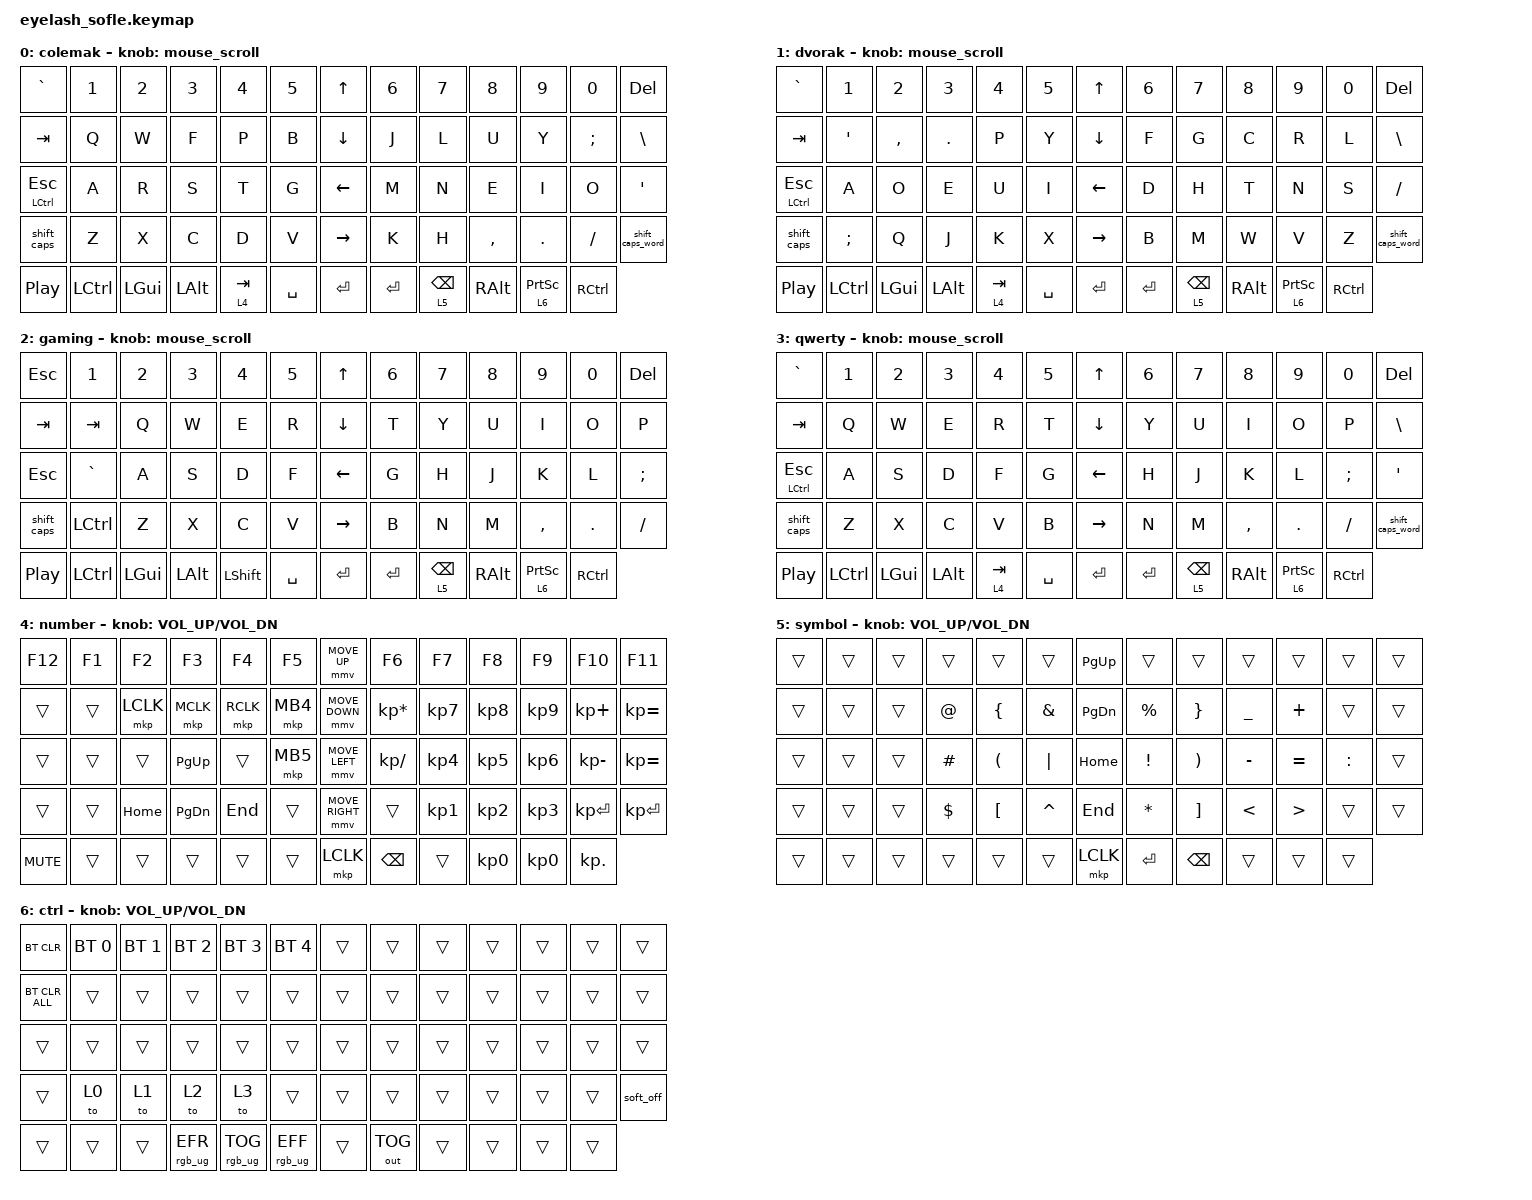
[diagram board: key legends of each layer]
#include <dt-bindings/zmk/mouse.h>
#include <input/processors.dtsi>
#include <behaviors.dtsi>
#include <dt-bindings/zmk/bt.h>
#include <dt-bindings/zmk/keys.h>
#include <dt-bindings/zmk/outputs.h>
#include <dt-bindings/zmk/pointing.h>
#include <dt-bindings/zmk/pointing.h>
#include <dt-bindings/zmk/pointing.h>
#include <dt-bindings/zmk/rgb.h>

/*

   &mmv_input_listener {
       input-processors = <&zip_xy_scaler 2 1>;
   };

   &msc_input_listener {
       input-processors = <&zip_xy_scaler 2 1>;
   };

 */

#define ZMK_POINTING_DEFAULT_MOVE_VAL 1200  // 600
#define ZMK_POINTING_DEFAULT_SCRL_VAL 20    // 10
#define ZMK_MOUSE_SCRL_VAL 140

/ {
    behaviors {
        mmv {
            acceleration-exponent = <1>;      // 1
            time-to-max-speed-ms = <900>;    // 40
            delay-ms = <0>;                   // 0
        };

        msc {
            acceleration-exponent = <1>;      // 0
            time-to-max-speed-ms = <400>;      // 500
            delay-ms = <0>;                   //   10
        };
    };

    shift_caps: shift_caps {
        compatible = "zmk,behavior-tap-dance";
        label = "SHIFT_CAPS";
        #binding-cells = <0>;
        bindings = <&kp LEFT_SHIFT>, <&kp CAPS>;
    };

    mouse_scroll: mouse_scroll {
        compatible = "zmk,behavior-sensor-rotate";
        label = "MOUSE_SCROLL";
        #sensor-binding-cells = <0>;
        bindings =
            <&msc MOVE_Y(-ZMK_MOUSE_SCRL_VAL)>,
            <&msc MOVE_Y(ZMK_MOUSE_SCRL_VAL)>;

        tap-ms = <20>;
    };

    shift_caps_word: shift_caps_word {
        compatible = "zmk,behavior-tap-dance";
        label = "SHIFT_CAPS_WORD";
        #binding-cells = <0>;
        bindings = <&kp RIGHT_SHIFT>, <&caps_word>;
    };

    combos {
        compatible = "zmk,combos";

        bl {
            bindings = <&bootloader>;
            key-positions = <39 51>;
        };
    };

    keymap {
        compatible = "zmk,keymap";

        colemak-dh {
            bindings = <
&kp GRAVE         &kp N1     &kp N2        &kp N3        &kp N4     &kp N5       &kp UP_ARROW     &kp N6     &kp N7           &kp N8     &kp N9       &kp N0     &kp DELETE
&kp TAB           &kp Q      &kp W         &kp F         &kp P      &kp B        &kp DOWN_ARROW   &kp J      &kp L            &kp U      &kp Y        &kp SEMI   &kp BSLH
&mt LCTRL ESC     &kp A      &kp R         &kp S         &kp T      &kp G        &kp LEFT_ARROW   &kp M      &kp N            &kp E      &kp I        &kp O      &kp APOS
&shift_caps       &kp Z      &kp X         &kp C         &kp D      &kp V        &kp RIGHT_ARROW  &kp K      &kp H            &kp COMMA  &kp DOT      &kp FSLH   &shift_caps_word
&kp C_PLAY_PAUSE  &kp LCTRL  &kp LEFT_GUI  &kp LEFT_ALT  &lt 4 TAB  &kp SPACE    &kp ENTER        &kp ENTER  &lt 5 BACKSPACE  &kp RALT   &lt 6 PSCRN  &kp RCTRL
            >;

            sensor-bindings = <&mouse_scroll>;
            display-name = "colemak";
        };

        dvorak {
            display-name = "dvorak";
            bindings = <
&kp GRAVE         &kp N1     &kp N2        &kp N3        &kp N4     &kp N5       &kp UP_ARROW     &kp N6     &kp N7           &kp N8    &kp N9       &kp N0     &kp DELETE
&kp TAB           &kp APOS   &kp COMMA     &kp DOT       &kp P      &kp Y        &kp DOWN_ARROW   &kp F      &kp G            &kp C     &kp R        &kp L      &kp BSLH
&mt LCTRL ESC     &kp A      &kp O         &kp E         &kp U      &kp I        &kp LEFT_ARROW   &kp D      &kp H            &kp T     &kp N        &kp S      &kp FSLH
&shift_caps       &kp SEMI   &kp Q         &kp J         &kp K      &kp X        &kp RIGHT_ARROW  &kp B      &kp M            &kp W     &kp V        &kp Z      &shift_caps_word
&kp C_PLAY_PAUSE  &kp LCTRL  &kp LEFT_GUI  &kp LEFT_ALT  &lt 4 TAB  &kp SPACE    &kp ENTER        &kp ENTER  &lt 5 BACKSPACE  &kp RALT  &lt 6 PSCRN  &kp RCTRL
            >;

            sensor-bindings = <&mouse_scroll>;
        };

        gaming {
            display-name = "gaming";
            bindings = <
&kp ESC           &kp N1     &kp N2        &kp N3        &kp N4     &kp N5       &kp UP_ARROW     &kp N6     &kp N7           &kp N8    &kp N9       &kp N0     &kp DELETE
&kp TAB           &kp TAB    &kp Q         &kp W         &kp E      &kp R        &kp DOWN_ARROW   &kp T      &kp Y            &kp U     &kp I        &kp O      &kp P
&kp ESC           &kp GRAVE  &kp A         &kp S         &kp D      &kp F        &kp LEFT_ARROW   &kp G      &kp H            &kp J     &kp K        &kp L      &kp SEMI
&shift_caps       &kp LCTRL  &kp Z         &kp X         &kp C      &kp V        &kp RIGHT_ARROW  &kp B      &kp N            &kp M     &kp COMMA    &kp DOT    &kp FSLH
&kp C_PLAY_PAUSE  &kp LCTRL  &kp LEFT_GUI  &kp LEFT_ALT  &kp LSHFT  &kp SPACE    &kp ENTER        &kp ENTER  &lt 5 BACKSPACE  &kp RALT  &lt 6 PSCRN  &kp RCTRL
            >;

            sensor-bindings = <&mouse_scroll>;
        };

        qwerty {
            display-name = "qwerty";
            bindings = <
&kp GRAVE         &kp N1     &kp N2        &kp N3        &kp N4     &kp N5       &kp UP_ARROW     &kp N6     &kp N7           &kp N8     &kp N9       &kp N0     &kp DELETE
&kp TAB           &kp Q      &kp W         &kp E         &kp R      &kp T        &kp DOWN_ARROW   &kp Y      &kp U            &kp I      &kp O        &kp P      &kp BSLH
&mt LCTRL ESC     &kp A      &kp S         &kp D         &kp F      &kp G        &kp LEFT_ARROW   &kp H      &kp J            &kp K      &kp L        &kp SEMI   &kp APOS
&shift_caps       &kp Z      &kp X         &kp C         &kp V      &kp B        &kp RIGHT_ARROW  &kp N      &kp M            &kp COMMA  &kp DOT      &kp FSLH   &shift_caps_word
&kp C_PLAY_PAUSE  &kp LCTRL  &kp LEFT_GUI  &kp LEFT_ALT  &lt 4 TAB  &kp SPACE    &kp ENTER        &kp ENTER  &lt 5 BACKSPACE  &kp RALT   &lt 6 PSCRN  &kp RCTRL
            >;

            sensor-bindings = <&mouse_scroll>;
        };

        number {
            bindings = <
&kp F12     &kp F1  &kp F2     &kp F3         &kp F4     &kp F5      &mmv MOVE_UP     &kp F6           &kp F7     &kp F8           &kp F9     &kp F10       &kp F11
&trans      &trans  &mkp LCLK  &mkp MCLK      &mkp RCLK  &mkp MB4    &mmv MOVE_DOWN   &kp KP_MULTIPLY  &kp KP_N7  &kp KP_N8        &kp KP_N9  &kp KP_PLUS   &kp KP_EQUAL
&trans      &trans  &trans     &kp PAGE_UP    &trans     &mkp MB5    &mmv MOVE_LEFT   &kp KP_DIVIDE    &kp KP_N4  &kp KP_N5        &kp KP_N6  &kp KP_MINUS  &kp KP_EQUAL
&trans      &trans  &kp HOME   &kp PAGE_DOWN  &kp END    &trans      &mmv MOVE_RIGHT  &trans           &kp KP_N1  &kp KP_N2        &kp KP_N3  &kp KP_ENTER  &kp KP_ENTER
&kp C_MUTE  &trans  &trans     &trans         &trans     &trans      &mkp LCLK        &kp BACKSPACE    &trans     &kp KP_NUMBER_0  &kp KP_N0  &kp KP_DOT
            >;

            display-name = "number";
            sensor-bindings = <&inc_dec_kp C_VOL_UP C_VOL_DN>;
        };

        symbol {
            bindings = <
&trans  &trans  &trans  &trans       &trans                &trans           &kp PG_UP  &trans           &trans                 &trans          &trans            &trans     &trans
&trans  &trans  &trans  &kp AT_SIGN  &kp LEFT_BRACE        &kp AMPERSAND    &kp PG_DN  &kp PERCENT      &kp RIGHT_BRACE        &kp UNDERSCORE  &kp PLUS          &trans     &trans
&trans  &trans  &trans  &kp HASH     &kp LEFT_PARENTHESIS  &kp PIPE         &kp HOME   &kp EXCLAMATION  &kp RIGHT_PARENTHESIS  &kp MINUS       &kp EQUAL         &kp COLON  &trans
&trans  &trans  &trans  &kp DOLLAR   &kp LEFT_BRACKET      &kp CARET        &kp END    &kp ASTERISK     &kp RIGHT_BRACKET      &kp LESS_THAN   &kp GREATER_THAN  &trans     &trans
&trans  &trans  &trans  &trans       &trans                &trans           &mkp LCLK  &kp ENTER        &kp BACKSPACE          &trans          &trans            &trans
            >;

            sensor-bindings = <&inc_dec_kp C_VOL_UP C_VOL_DN>;
            label = "symbol";
        };

        ctrl {
            label = "ctrl";
            bindings = <
&bt BT_CLR      &bt BT_SEL 0  &bt BT_SEL 1  &bt BT_SEL 2     &bt BT_SEL 3     &bt BT_SEL 4       &trans  &trans        &trans  &trans  &trans  &trans  &trans
&bt BT_CLR_ALL  &trans        &trans        &trans           &trans           &trans             &trans  &trans        &trans  &trans  &trans  &trans  &trans
&trans          &trans        &trans        &trans           &trans           &trans             &trans  &trans        &trans  &trans  &trans  &trans  &trans
&trans          &to 0         &to 1         &to 2            &to 3            &trans             &trans  &trans        &trans  &trans  &trans  &trans  &soft_off
&trans          &trans        &trans        &rgb_ug RGB_EFR  &rgb_ug RGB_TOG  &rgb_ug RGB_EFF    &trans  &out OUT_TOG  &trans  &trans  &trans  &trans
            >;

            sensor-bindings = <&inc_dec_kp C_VOL_UP C_VOL_DN>;
        };
    };
};
